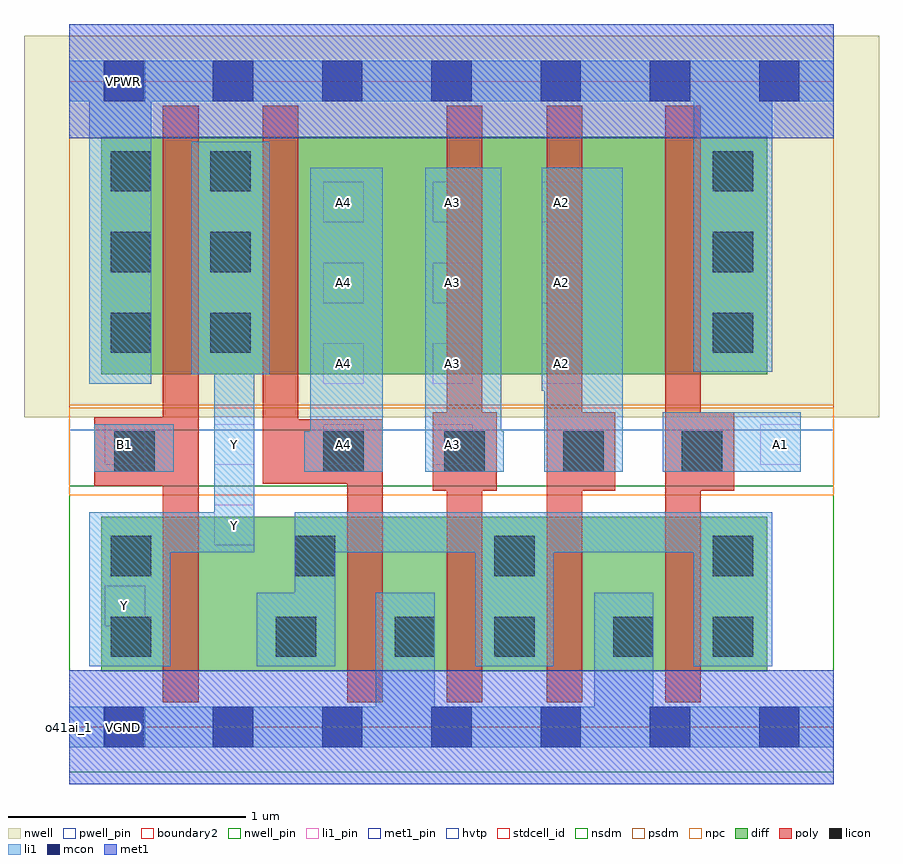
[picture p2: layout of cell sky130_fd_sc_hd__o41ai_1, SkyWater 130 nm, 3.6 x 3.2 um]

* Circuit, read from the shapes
.subckt sky130_fd_sc_hd__o41ai_1 A1 A2 A3 A4 B1 VGND VNB VPB VPWR Y
XM1 n1 B1 Y VNB sky130_fd_pr__nfet_01v8 w=0.65 l=0.15
XM2 VGND A4 n1 VNB sky130_fd_pr__nfet_01v8 w=0.65 l=0.15
XM3 n1 A3 VGND VNB sky130_fd_pr__nfet_01v8 w=0.65 l=0.15
XM4 VGND A2 n1 VNB sky130_fd_pr__nfet_01v8 w=0.65 l=0.15
XM5 n1 A1 VGND VNB sky130_fd_pr__nfet_01v8 w=0.65 l=0.15
XM6 Y B1 VPWR VPB sky130_fd_pr__pfet_01v8_hvt w=1 l=0.15
XM7 n2 A4 Y VPB sky130_fd_pr__pfet_01v8_hvt w=1 l=0.15
XM8 n3 A3 n2 VPB sky130_fd_pr__pfet_01v8_hvt w=1 l=0.15
XM9 n4 A2 n3 VPB sky130_fd_pr__pfet_01v8_hvt w=1 l=0.15
XM10 VPWR A1 n4 VPB sky130_fd_pr__pfet_01v8_hvt w=1 l=0.15
.ends

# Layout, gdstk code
import gdstk
lib = gdstk.Library(unit=1e-6, precision=1e-09)
def R(c, l, rs):  # rectangles x0, y0, x1, y1
    for r in rs: c.add(gdstk.rectangle(r[:2], r[2:], *l))
def A(c, l, x, y, w, h, nx, ny, dx, dy):  # array of equal rectangles
    R(c, l, [(x+i*dx, y+j*dy, x+i*dx+w, y+j*dy+h) for i in range(nx) for j in range(ny)])
def P(c, l, *ps):  # polygons
    for p in ps: c.add(gdstk.Polygon(p, *l))
nwell_pin = (64, 16)
nwell = (64, 20)
diff = (65, 20)
poly = (66, 20)
licon = (66, 44)
li1_pin = (67, 16)
li1 = (67, 20)
mcon = (67, 44)
met1_pin = (68, 16)
met1 = (68, 20)
hvtp = (78, 44)
stdcell_id = (81, 4)
nsdm = (93, 44)
psdm = (94, 20)
npc = (95, 20)
pwell_pin = (122, 16)
boundary2 = (236, 0)

sky130_fd_sc_hd__o41ai_1 = lib.new_cell('sky130_fd_sc_hd__o41ai_1')
R(sky130_fd_sc_hd__o41ai_1, nwell_pin, [(0.15,2.635,0.32,2.805)])
R(sky130_fd_sc_hd__o41ai_1, nwell, [(-0.19,1.305,3.41,2.91)])
R(sky130_fd_sc_hd__o41ai_1, diff, [(0.135,0.235,2.94,0.885), (0.135,1.485,2.94,2.485)])
R(sky130_fd_sc_hd__o41ai_1, poly, [(0.105,1.015,0.395,1.025), (0.105,1.295,0.395,1.305)])
P(sky130_fd_sc_hd__o41ai_1, poly, [(0.395,0.105),(0.395,1.025),(0.105,1.025),(0.105,1.295),(0.395,1.295),(0.395,2.615),(0.545,2.615),(0.545,0.105)],
  [(1.17,0.105),(1.17,1.025),(0.815,1.025),(0.815,2.615),(0.965,2.615),(0.965,1.295),(1.32,1.295),(1.32,0.105)],
  [(1.59,0.105),(1.59,0.995),(1.53,0.995),(1.53,1.325),(1.59,1.325),(1.59,2.615),(1.74,2.615),(1.74,1.325),(1.8,1.325),(1.8,0.995),(1.74,0.995),(1.74,0.105)],
  [(2.51,0.105),(2.51,2.615),(2.66,2.615),(2.66,1.325),(2.8,1.325),(2.8,0.995),(2.66,0.995),(2.66,0.105)],
  [(2.01,0.105),(2.01,2.615),(2.16,2.615),(2.16,1.325),(2.3,1.325),(2.3,0.995),(2.16,0.995),(2.16,0.105)])
A(sky130_fd_sc_hd__o41ai_1, licon, 1.58, 1.075, 0.17, 0.17, 3, 1, 0.5, 0)
A(sky130_fd_sc_hd__o41ai_1, licon, 0.175, 1.575, 0.17, 0.17, 1, 3, 0, 0.34)
A(sky130_fd_sc_hd__o41ai_1, licon, 0.595, 1.575, 0.17, 0.17, 1, 3, 0, 0.34)
A(sky130_fd_sc_hd__o41ai_1, licon, 2.71, 1.575, 0.17, 0.17, 1, 3, 0, 0.34)
R(sky130_fd_sc_hd__o41ai_1, licon, [(0.175,0.295,0.345,0.465), (0.87,0.295,1.04,0.465), (1.37,0.295,1.54,0.465), (1.79,0.295,1.96,0.465), (2.29,0.295,2.46,0.465), (2.71,0.295,2.88,0.465), (0.175,0.635,0.345,0.805), (0.95,0.635,1.12,0.805), (1.79,0.635,1.96,0.805), (2.71,0.635,2.88,0.805), (0.19,1.075,0.36,1.245), (1.07,1.075,1.24,1.245)])
A(sky130_fd_sc_hd__o41ai_1, li1_pin, 0.15, 1.105, 0.17, 0.17, 4, 1, 0.46, 0)
A(sky130_fd_sc_hd__o41ai_1, li1_pin, 1.07, 1.445, 0.17, 0.17, 3, 3, 0.46, 0.34)
R(sky130_fd_sc_hd__o41ai_1, li1_pin, [(0.15,0.425,0.32,0.595), (0.61,0.765,0.78,0.935), (2.91,1.105,3.08,1.275)])
R(sky130_fd_sc_hd__o41ai_1, li1, [(0.105,1.075,0.44,1.275), (2.5,1.075,3.08,1.325)])
P(sky130_fd_sc_hd__o41ai_1, li1, [(2,1.075),(2,1.415),(1.99,1.415),(1.99,2.355),(2.33,2.355),(2.33,1.075)],
  [(0.79,0.255),(0.79,0.565),(0.95,0.565),(0.95,0.905),(2.96,0.905),(2.96,0.255),(2.63,0.255),(2.63,0.735),(2.04,0.735),(2.04,0.255),(1.71,0.255),(1.71,0.735),(1.12,0.735),(1.12,0.255)],
  [(0.085,0.255),(0.085,0.905),(0.61,0.905),(0.61,1.485),(0.515,1.485),(0.515,2.465),(0.845,2.465),(0.845,1.485),(0.78,1.485),(0.78,0.735),(0.425,0.735),(0.425,0.255)],
  [(0.99,1.075),(0.99,1.245),(1.015,1.245),(1.015,2.355),(1.32,2.355),(1.32,1.075)],
  [(1.5,1.075),(1.5,2.355),(1.82,2.355),(1.82,1.245),(1.83,1.245),(1.83,1.075)],
  [(0,-0.085),(0,0.085),(1.29,0.085),(1.29,0.565),(1.54,0.565),(1.54,0.085),(2.21,0.085),(2.21,0.565),(2.46,0.565),(2.46,0.085),(3.22,0.085),(3.22,-0.085)],
  [(0.085,1.445),(0.085,2.635),(0,2.635),(0,2.805),(3.22,2.805),(3.22,2.635),(2.96,2.635),(2.96,1.495),(2.63,1.495),(2.63,2.635),(0.345,2.635),(0.345,1.445)])
A(sky130_fd_sc_hd__o41ai_1, mcon, 0.145, -0.085, 0.17, 0.17, 7, 2, 0.46, 2.72)
R(sky130_fd_sc_hd__o41ai_1, met1_pin, [(0.15,-0.085,0.32,0.085), (0.15,2.635,0.32,2.805)])
R(sky130_fd_sc_hd__o41ai_1, hvtp, [(0,1.25,3.22,2.72)])
R(sky130_fd_sc_hd__o41ai_1, stdcell_id, [(0,0,3.22,2.72)])
R(sky130_fd_sc_hd__o41ai_1, nsdm, [(0,-0.19,3.22,1.015)])
R(sky130_fd_sc_hd__o41ai_1, psdm, [(0,1.355,3.22,2.91)])
R(sky130_fd_sc_hd__o41ai_1, npc, [(0,0.975,3.22,1.345)])
R(sky130_fd_sc_hd__o41ai_1, pwell_pin, [(0.15,-0.085,0.32,0.085)])
R(sky130_fd_sc_hd__o41ai_1, boundary2, [(0,0,3.22,2.72)])
sky130_fd_sc_hd__o41ai_1.add(gdstk.FlexPath([(0,2.72),(3.22,2.72)], 0.48, ends="flush", simple_path=True, layer=68, datatype=20))  # met1
sky130_fd_sc_hd__o41ai_1.add(gdstk.FlexPath([(0,0),(3.22,0)], 0.48, ends="flush", simple_path=True, layer=68, datatype=20))  # met1
sky130_fd_sc_hd__o41ai_1.add(gdstk.Label('A1', (2.995,1.19), layer=67, texttype=5))
sky130_fd_sc_hd__o41ai_1.add(gdstk.Label('A2', (2.075,2.21), layer=67, texttype=5))
sky130_fd_sc_hd__o41ai_1.add(gdstk.Label('A2', (2.075,1.87), layer=67, texttype=5))
sky130_fd_sc_hd__o41ai_1.add(gdstk.Label('A2', (2.075,1.53), layer=67, texttype=5))
sky130_fd_sc_hd__o41ai_1.add(gdstk.Label('A3', (1.615,2.21), layer=67, texttype=5))
sky130_fd_sc_hd__o41ai_1.add(gdstk.Label('A3', (1.615,1.87), layer=67, texttype=5))
sky130_fd_sc_hd__o41ai_1.add(gdstk.Label('A3', (1.615,1.53), layer=67, texttype=5))
sky130_fd_sc_hd__o41ai_1.add(gdstk.Label('A3', (1.615,1.19), layer=67, texttype=5))
sky130_fd_sc_hd__o41ai_1.add(gdstk.Label('A4', (1.155,2.21), layer=67, texttype=5))
sky130_fd_sc_hd__o41ai_1.add(gdstk.Label('A4', (1.155,1.87), layer=67, texttype=5))
sky130_fd_sc_hd__o41ai_1.add(gdstk.Label('A4', (1.155,1.53), layer=67, texttype=5))
sky130_fd_sc_hd__o41ai_1.add(gdstk.Label('A4', (1.155,1.19), layer=67, texttype=5))
sky130_fd_sc_hd__o41ai_1.add(gdstk.Label('Y', (0.695,1.19), layer=67, texttype=5))
sky130_fd_sc_hd__o41ai_1.add(gdstk.Label('Y', (0.695,0.85), layer=67, texttype=5))
sky130_fd_sc_hd__o41ai_1.add(gdstk.Label('Y', (0.235,0.51), layer=67, texttype=5))
sky130_fd_sc_hd__o41ai_1.add(gdstk.Label('B1', (0.235,1.19), layer=67, texttype=5))
sky130_fd_sc_hd__o41ai_1.add(gdstk.Label('VGND', (0.23,0), layer=68, texttype=5))
sky130_fd_sc_hd__o41ai_1.add(gdstk.Label('VPWR', (0.23,2.72), layer=68, texttype=5))
sky130_fd_sc_hd__o41ai_1.add(gdstk.Label('VPB', (0.23,2.72), layer=64, texttype=5))
sky130_fd_sc_hd__o41ai_1.add(gdstk.Label('VNB', (0.23,0), layer=64, texttype=59))
sky130_fd_sc_hd__o41ai_1.add(gdstk.Label('o41ai_1', (0,0), layer=83, texttype=44))

lib.write_gds('sky130_fd_sc_hd__o41ai_1.gds')
